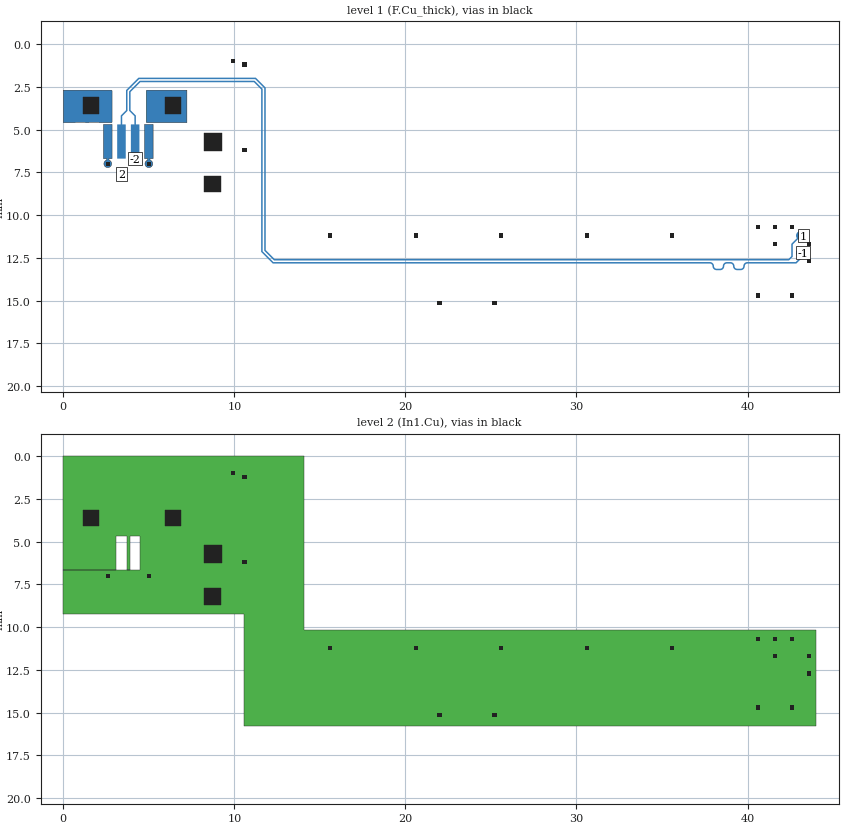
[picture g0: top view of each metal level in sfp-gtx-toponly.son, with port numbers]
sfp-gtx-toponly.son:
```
FTYP SONPROJ 19 ! Sonnet Project File
VER 18.52
HEADER
LIC antikernel2.1.51176
DAT 03/03/2022 13:22:02
BUILT_BY_CREATED xgeom 18.52 02/09/2022 03:42:16
BUILT_BY_SAVED sonnet 18.52
MDATE 03/03/2022 13:22:02
HDATE 03/03/2022 13:22:02
ANN Created by dxfgeo, Sonnet Software Inc.
END HEADER
DIM
ANG DEG
CAP PF
CON /OH
FREQ GHZ
IND NH
LNG MM
RES OH
END DIM
CONTROL
VARSWP
OPTIONS  -d
SPEED 1
CACHE_ABS 2
Q_ACC N
END CONTROL
GEO
TMET "Free Space" 0 FREESPACE 376.7303136 0 0 0
BMET "Free Space" 0 FREESPACE 376.7303136 0 0 0
MET "Copper_1oz_thin" 1 NOR 58000000 0.5 0.035 
MET "Copper_1oz_thick" 2 TMM 58000000 0.5 0.035 2
MET "Copper_0.5oz_thin" 4 NOR 58000000 0.5 0.017 
MET "Copper_0.5oz_thick" 12 TMM 58000000 0.5 0.017 2
MET "Copper_0.5oz_thick_down" 5 TMM 58000000 0.5 0.017 2 CDVY TDWN
MET "Copper_1oz_thick_down" 3 TMM 58000000 0.5 0.035 2 CDVY TDWN
BOX 10 44 19 3520 1520 20 0
      5 1 1 0 0 0 0 "Air"
      0.04 3.5 1 0.025 0 0 0 "Soldermask"
      0.075 3.9 1 0.008 0 0 0 "TU-872_SLK"
      0.1 3.9 1 0.008 0 0 0 "TU-872_SLK"
      0.143 3.9 1 0.008 0 0 0 "TU-872_SLK"
      0.7 4.49 1 0.016 0 0 0 "Shengyi_S1000-2M"
      0.143 3.9 1 0.008 0 0 0 "TU-872_SLK"
      0.1 3.9 1 0.008 0 0 0 "TU-872_SLK"
      0.075 3.9 1 0.008 0 0 0 "TU-872_SLK"
      0.04 3.5 1 0.025 0 0 0 "Soldermask"
      5 1 1 0 0 0 0 "Air"
TECHLAY METAL F.Cu_thick <UNSPECIFIED> -2 0 CAD F.Cu_thick drawing 
1 0 1 N 24123 1 1 100 100 0 0 0 Y
END
END
TECHLAY VIA Via1 <UNSPECIFIED> -13 0 CAD Via1 drawing 
VIA POLYGON
1 0 -1 N 24202 1 1 100 100 0 0 0 Y
TOLEVEL 8 RING NOCOVERS
END
END
TECHLAY METAL F.Cu_thin <UNSPECIFIED> -1 0 CAD F.Cu_thin drawing 
1 0 0 N 24143 1 1 100 100 0 0 0 Y
END
END
TECHLAY METAL In1.Cu <UNSPECIFIED> -3 0 CAD In1.Cu drawing 
2 0 0 N 24146 1 1 100 100 0 0 0 Y
END
END
TECHLAY METAL In2.Cu_thick <UNSPECIFIED> -5 0 CAD In2.Cu_thick drawing 
3 0 3 N 24149 1 1 100 100 0 0 0 Y
END
END
TECHLAY METAL In2.Cu_thin <UNSPECIFIED> -4 0 CAD In2.Cu drawing 
3 0 2 N 24151 1 1 100 100 0 0 0 Y
END
END
TECHLAY METAL In3.Cu <UNSPECIFIED> -6 0 CAD In3.Cu drawing 
4 0 0 N 24154 1 1 100 100 0 0 0 Y
END
END
TECHLAY METAL In4.Cu <UNSPECIFIED> -7 0 CAD In4.Cu drawing 
5 0 0 N 24159 1 1 100 100 0 0 0 Y
END
END
TECHLAY METAL In5.Cu_thin <UNSPECIFIED> -8 0 CAD In5.Cu drawing 
6 0 2 N 24164 1 1 100 100 0 0 0 Y
END
END
TECHLAY METAL In5.Cu_thick <UNSPECIFIED> -9 0 CAD In5.Cu_thick drawing 
6 0 4 N 24162 1 1 100 100 0 0 0 Y
END
END
TECHLAY METAL In6.Cu <UNSPECIFIED> -10 0 CAD In6.Cu drawing 
7 0 0 N 24167 1 1 100 100 0 0 0 Y
END
END
TECHLAY METAL B.Cu_thin <UNSPECIFIED> -11 0 CAD B.Cu_thin drawing 
8 0 0 N 24172 1 1 100 100 0 0 0 Y
END
END
TECHLAY METAL B.Cu_thick <UNSPECIFIED> -12 0 CAD B.Cu_thick drawing 
8 0 5 N 24170 1 1 100 100 0 0 0 Y
END
END
VALVAR CORE_ER NONE "table1(\"core_er.csv\",FREQ)" "Variable set in material file"
VALVAR CORE_DF NONE "table1(\"core_df.csv\",FREQ)" "Variable set in material file"
VALVAR PREPREG_DF NONE "table1(\"prepreg_df.csv\",FREQ)" "Variable set in material file"
VALVAR PREPREG_ER NONE "table1(\"prepreg_er.csv\",FREQ)" "Variable set in material file"
LORGN 0 19 U 
POR1 CUP Auto
GNDREF AUTO
TERMW FEED
POLY 23878 1
61
-1 100 0 0 0 43.263 12.2 
CUPGRP "Auto" LOCAL
ID 24198
END
POR1 CUP Auto
GNDREF AUTO
TERMW FEED
POLY 23878 1
298
-2 100 0 0 0 4.2 6.7 
CUPGRP "Auto" LOCAL
ID 24199
END
POR1 CUP Auto
GNDREF AUTO
TERMW FEED
POLY 23879 1
26
1 100 0 0 0 43.263 11.2 
CUPGRP "Auto" LOCAL
ID 24200
END
POR1 CUP Auto
GNDREF AUTO
TERMW FEED
POLY 23879 1
110
2 100 0 0 0 3.4 6.7 
CUPGRP "Auto" LOCAL
ID 24201
END
NUM 31
1 67 1 N 1085 1 1 100 100 0 0 0 Y
TLAYNAM F.Cu_thick INH
USER_DAT FromImport
2.589 7.225
2.567 7.223
2.545 7.218
2.524 7.212
2.504 7.203
2.484 7.193
2.466 7.181
2.449 7.167
2.433 7.151
2.419 7.134
2.407 7.116
2.397 7.096
2.388 7.076
2.382 7.055
2.377 7.033
2.375 7.011
2.375 6.989
2.377 6.967
2.382 6.945
2.388 6.924
2.397 6.904
2.407 6.884
2.419 6.866
2.433 6.849
2.449 6.833
2.466 6.819
2.484 6.807
2.504 6.797
2.524 6.788
2.53 6.786
2.53 6.7
2.35 6.7
2.35 4.7
2.85 4.7
2.85 6.7
2.67 6.7
2.67 6.786
2.676 6.788
2.696 6.797
2.716 6.807
2.734 6.819
2.751 6.833
2.767 6.849
2.781 6.866
2.793 6.884
2.803 6.904
2.812 6.924
2.818 6.945
2.823 6.967
2.825 6.989
2.825 7.011
2.823 7.033
2.818 7.055
2.812 7.076
2.803 7.096
2.793 7.116
2.781 7.134
2.767 7.151
2.751 7.167
2.734 7.181
2.716 7.193
2.696 7.203
2.676 7.212
2.655 7.218
2.633 7.223
2.611 7.225
2.589 7.225
END
1 67 1 N 1086 1 1 100 100 0 0 0 Y
TLAYNAM F.Cu_thick INH
USER_DAT FromImport
4.989 7.225
4.967 7.223
4.945 7.218
4.924 7.212
4.904 7.203
4.884 7.193
4.866 7.181
4.849 7.167
4.833 7.151
4.819 7.134
4.807 7.116
4.797 7.096
4.788 7.076
4.782 7.055
4.777 7.033
4.775 7.011
4.775 6.989
4.777 6.967
4.782 6.945
4.788 6.924
4.797 6.904
4.807 6.884
4.819 6.866
4.833 6.849
4.849 6.833
4.866 6.819
4.884 6.807
4.904 6.797
4.924 6.788
4.93 6.786
4.93 6.7
4.75 6.7
4.75 4.7
5.25 4.7
5.25 6.7
5.07 6.7
5.07 6.786
5.076 6.788
5.096 6.797
5.116 6.807
5.134 6.819
5.151 6.833
5.167 6.849
5.181 6.866
5.193 6.884
5.203 6.904
5.212 6.924
5.218 6.945
5.223 6.967
5.225 6.989
5.225 7.011
5.223 7.033
5.218 7.055
5.212 7.076
5.203 7.096
5.193 7.116
5.181 7.134
5.167 7.151
5.151 7.167
5.134 7.181
5.116 7.193
5.096 7.203
5.076 7.212
5.055 7.218
5.033 7.223
5.011 7.225
4.989 7.225
END
1 451 1 V 23878 1 1 100 100 0 0 0 Y
TLAYNAM F.Cu_thick NOH
USER_DAT FromImport
39.611 13.224
39.642 13.22
39.652 13.22
39.657 13.219
39.702 13.203
39.71 13.199
39.713 13.196
39.717 13.193
39.74 13.179
39.741 13.179
39.744 13.177
39.748 13.174
39.751 13.171
39.755 13.168
39.757 13.165
39.777 13.145
39.781 13.142
39.79 13.133
39.815 13.092
39.819 13.084
39.82 13.08
39.821 13.075
39.829 13.052
39.831 13.049
39.832 13.045
39.834 13.04
39.835 13.036
39.835 13.032
39.845 12.948
39.845 12.945
39.852 12.926
39.853 12.925
39.874 12.89
39.895 12.869
39.919 12.853
39.921 12.852
39.959 12.839
39.989 12.835
42.844 12.835
42.848 12.834
42.852 12.832
42.856 12.831
42.86 12.829
42.868 12.823
42.873 12.817
43.127 12.563
43.13 12.561
43.133 12.558
43.133 12.557
43.136 12.554
43.139 12.55
43.141 12.547
43.142 12.542
43.144 12.538
43.145 12.534
43.145 12.461
43.164 12.457
43.189 12.45
43.213 12.44
43.236 12.427
43.258 12.413
43.263 12.40875
43.263 11.99125
43.258 11.987
43.236 11.973
43.213 11.96
43.189 11.95
43.164 11.943
43.139 11.938
43.113 11.935
43.087 11.935
43.061 11.938
43.036 11.943
43.011 11.95
42.987 11.96
42.964 11.973
42.942 11.987
42.922 12.004
42.904 12.022
42.887 12.042
42.873 12.064
42.86 12.087
42.85 12.111
42.843 12.136
42.838 12.161
42.835 12.187
42.835 12.213
42.838 12.239
42.843 12.264
42.85 12.289
42.86 12.313
42.873 12.336
42.887 12.358
42.904 12.378
42.922 12.396
42.942 12.413
42.964 12.427
42.987 12.44
43.011 12.45
43.036 12.457
43.055 12.461
43.055 12.509
42.818 12.745
39.983 12.745
39.98 12.746
39.979 12.746
39.943 12.75
39.939 12.75
39.935 12.751
39.931 12.753
39.927 12.754
39.926 12.755
39.9 12.764
39.895 12.765
39.891 12.766
39.883 12.77
39.842 12.795
39.833 12.804
39.83 12.808
39.81 12.828
39.807 12.83
39.804 12.834
39.801 12.837
39.798 12.841
39.796 12.844
39.796 12.845
39.782 12.868
39.779 12.872
39.776 12.875
39.772 12.883
39.756 12.928
39.755 12.933
39.755 12.943
39.746 13.016
39.733 13.054
39.732 13.056
39.716 13.08
39.695 13.101
39.66 13.122
39.659 13.123
39.64 13.13
39.638 13.13
39.592 13.135
39.389 13.135
39.359 13.131
39.321 13.118
39.319 13.117
39.295 13.101
39.274 13.08
39.253 13.045
39.252 13.044
39.245 13.025
39.245 13.022
39.235 12.938
39.235 12.934
39.234 12.93
39.232 12.925
39.231 12.921
39.229 12.918
39.221 12.895
39.22 12.89
39.219 12.886
39.215 12.878
39.19 12.837
39.181 12.828
39.177 12.825
39.16 12.809
39.157 12.805
39.155 12.802
39.151 12.799
39.148 12.796
39.144 12.793
39.141 12.791
39.14 12.791
39.117 12.777
39.113 12.774
39.11 12.771
39.102 12.767
39.057 12.751
39.052 12.75
39.042 12.75
39.011 12.746
39.007 12.745
38.783 12.745
38.78 12.746
38.779 12.746
38.743 12.75
38.739 12.75
38.735 12.751
38.731 12.753
38.727 12.754
38.726 12.755
38.7 12.764
38.695 12.765
38.691 12.766
38.683 12.77
38.642 12.795
38.633 12.804
38.63 12.808
38.61 12.828
38.607 12.83
38.604 12.834
38.601 12.837
38.598 12.841
38.596 12.844
38.596 12.845
38.582 12.868
38.579 12.872
38.576 12.875
38.572 12.883
38.556 12.928
38.555 12.933
38.555 12.943
38.546 13.016
38.533 13.054
38.532 13.056
38.516 13.08
38.495 13.101
38.46 13.122
38.459 13.123
38.44 13.13
38.438 13.13
38.392 13.135
38.189 13.135
38.159 13.131
38.121 13.118
38.119 13.117
38.095 13.101
38.074 13.08
38.053 13.045
38.052 13.044
38.045 13.025
38.045 13.022
38.035 12.938
38.035 12.934
38.034 12.93
38.032 12.925
38.031 12.921
38.029 12.918
38.021 12.895
38.02 12.89
38.019 12.886
38.015 12.878
37.99 12.837
37.981 12.828
37.977 12.825
37.96 12.809
37.957 12.805
37.955 12.802
37.951 12.799
37.948 12.796
37.944 12.793
37.941 12.791
37.94 12.791
37.917 12.777
37.913 12.774
37.91 12.771
37.902 12.767
37.857 12.751
37.852 12.75
37.842 12.75
37.811 12.746
37.807 12.745
12.281 12.745
11.655 12.118
11.655 2.63
11.653 2.622
11.649 2.614
11.646 2.61
11.644 2.607
11.193 2.157
11.19 2.154
11.186 2.151
11.182 2.149
11.178 2.148
11.174 2.146
11.17 2.145
4.48 2.145
4.472 2.147
4.464 2.151
4.46 2.154
4.457 2.156
3.857 2.757
3.854 2.76
3.851 2.764
3.849 2.768
3.848 2.772
3.846 2.776
3.845 2.78
3.845 3.897
3.846 3.901
3.848 3.905
3.849 3.909
3.851 3.913
3.854 3.917
4.155 4.218
4.155 4.7
3.95 4.7
3.95 6.7
4.45 6.7
4.45 4.7
4.245 4.7
4.245 4.193
4.244 4.189
4.242 4.185
4.241 4.181
4.239 4.177
4.236 4.173
3.935 3.872
3.935 2.805
4.506 2.235
11.145 2.235
11.565 2.656
11.565 12.144
11.566 12.148
11.568 12.152
11.569 12.156
11.571 12.16
11.577 12.168
11.583 12.173
12.227 12.817
12.229 12.82
12.232 12.823
12.233 12.823
12.236 12.826
12.24 12.829
12.243 12.831
12.248 12.832
12.252 12.834
12.256 12.835
37.792 12.835
37.838 12.84
37.84 12.84
37.859 12.847
37.86 12.848
37.895 12.869
37.916 12.89
37.932 12.914
37.933 12.916
37.946 12.954
37.955 13.027
37.955 13.037
37.956 13.042
37.972 13.087
37.976 13.095
37.979 13.098
37.982 13.102
37.996 13.125
37.996 13.126
37.998 13.129
38.001 13.133
38.004 13.136
38.007 13.14
38.01 13.142
38.03 13.162
38.033 13.166
38.042 13.175
38.083 13.2
38.091 13.204
38.095 13.205
38.1 13.206
38.126 13.215
38.127 13.216
38.131 13.217
38.135 13.219
38.139 13.22
38.143 13.22
38.179 13.224
38.18 13.224
38.183 13.225
38.407 13.225
38.411 13.224
38.442 13.22
38.452 13.22
38.457 13.219
38.502 13.203
38.51 13.199
38.513 13.196
38.517 13.193
38.54 13.179
38.541 13.179
38.544 13.177
38.548 13.174
38.551 13.171
38.555 13.168
38.557 13.165
38.577 13.145
38.581 13.142
38.59 13.133
38.615 13.092
38.619 13.084
38.62 13.08
38.621 13.075
38.629 13.052
38.631 13.049
38.632 13.045
38.634 13.04
38.635 13.036
38.635 13.032
38.645 12.948
38.645 12.945
38.652 12.926
38.653 12.925
38.674 12.89
38.695 12.869
38.719 12.853
38.721 12.852
38.759 12.839
38.789 12.835
38.992 12.835
39.038 12.84
39.04 12.84
39.059 12.847
39.06 12.848
39.095 12.869
39.116 12.89
39.132 12.914
39.133 12.916
39.146 12.954
39.155 13.027
39.155 13.037
39.156 13.042
39.172 13.087
39.176 13.095
39.179 13.098
39.182 13.102
39.196 13.125
39.196 13.126
39.198 13.129
39.201 13.133
39.204 13.136
39.207 13.14
39.21 13.142
39.23 13.162
39.233 13.166
39.242 13.175
39.283 13.2
39.291 13.204
39.295 13.205
39.3 13.206
39.326 13.215
39.327 13.216
39.331 13.217
39.335 13.219
39.339 13.22
39.343 13.22
39.379 13.224
39.38 13.224
39.383 13.225
39.607 13.225
39.611 13.224
END
1 139 1 V 23879 1 1 100 100 0 0 0 Y
TLAYNAM F.Cu_thick NOH
USER_DAT FromImport
42.421 12.654
42.425 12.652
42.429 12.651
42.433 12.649
42.437 12.646
42.636 12.447
42.639 12.443
42.641 12.439
42.642 12.435
42.644 12.431
42.645 12.427
42.645 11.718
42.947 11.416
42.964 11.427
42.987 11.44
43.011 11.45
43.036 11.457
43.061 11.462
43.087 11.465
43.113 11.465
43.139 11.462
43.164 11.457
43.189 11.45
43.213 11.44
43.236 11.427
43.258 11.413
43.263 11.40875
43.263 10.99125
43.258 10.987
43.236 10.973
43.213 10.96
43.189 10.95
43.164 10.943
43.139 10.938
43.113 10.935
43.087 10.935
43.061 10.938
43.036 10.943
43.011 10.95
42.987 10.96
42.964 10.973
42.942 10.987
42.922 11.004
42.904 11.022
42.887 11.042
42.873 11.064
42.86 11.087
42.85 11.111
42.843 11.136
42.838 11.161
42.835 11.187
42.835 11.213
42.838 11.239
42.843 11.264
42.85 11.289
42.86 11.313
42.873 11.336
42.884 11.353
42.564 11.673
42.561 11.677
42.559 11.681
42.558 11.685
42.556 11.689
42.555 11.693
42.555 12.402
42.392 12.565
12.355 12.565
11.835 12.044
11.835 2.556
11.834 2.552
11.832 2.548
11.831 2.544
11.829 2.54
11.823 2.532
11.817 2.527
11.275 1.985
11.274 1.983
11.268 1.977
11.264 1.974
11.261 1.971
11.257 1.969
11.253 1.968
11.249 1.966
11.244 1.965
4.406 1.965
4.402 1.966
4.398 1.968
4.394 1.969
4.39 1.971
4.382 1.977
4.377 1.983
3.683 2.677
3.68 2.679
3.677 2.682
3.677 2.683
3.674 2.686
3.671 2.69
3.669 2.693
3.668 2.698
3.666 2.702
3.665 2.706
3.665 3.872
3.364 4.173
3.361 4.177
3.359 4.181
3.358 4.185
3.356 4.189
3.355 4.193
3.355 4.7
3.15 4.7
3.15 6.7
3.65 6.7
3.65 4.7
3.445 4.7
3.445 4.218
3.746 3.917
3.749 3.913
3.751 3.909
3.752 3.905
3.754 3.901
3.755 3.897
3.755 2.731
4.432 2.055
11.219 2.055
11.745 2.582
11.745 12.07
11.747 12.078
11.751 12.086
11.754 12.09
11.756 12.093
12.307 12.643
12.31 12.646
12.314 12.649
12.318 12.651
12.322 12.652
12.326 12.654
12.33 12.655
42.417 12.655
42.421 12.654
END
1 27 1 N 23994 1 1 100 100 0 0 0 Y
TLAYNAM F.Cu_thick INH
USER_DAT FromImport
7.225 2.7
4.893 2.7
4.888 2.701
4.883 2.703
4.879 2.705
4.874 2.707
4.866 2.713
4.863 2.716
4.857 2.724
4.855 2.729
4.853 2.733
4.851 2.738
4.85 2.743
4.85 4.557
4.851 4.562
4.853 4.567
4.855 4.571
4.857 4.576
4.863 4.584
4.866 4.587
4.874 4.593
4.879 4.595
4.883 4.597
4.888 4.599
4.893 4.6
7.225 4.6
7.225 2.7
END
1 59 1 N 24208 1 1 100 100 0 0 0 Y
TLAYNAM F.Cu_thick INH
USER_DAT FromImport
2.812 4.599
2.817 4.597
2.821 4.595
2.826 4.593
2.834 4.587
2.837 4.584
2.843 4.576
2.845 4.571
2.847 4.567
2.849 4.562
2.85 4.557
2.85 2.743
2.849 2.738
2.847 2.733
2.845 2.729
2.843 2.724
2.837 2.716
2.834 2.713
2.826 2.707
2.821 2.705
2.817 2.703
2.812 2.701
2.807 2.7
0 2.7
0 4.6
0.667 4.6
0.677 4.598
0.681 4.596
0.702 4.585
0.729 4.576
0.757 4.574
1.242 4.574
1.274 4.577
1.305 4.587
1.309 4.589
1.31 4.59
1.314 4.593
1.319 4.595
1.323 4.597
1.328 4.599
1.333 4.6
1.467 4.6
1.477 4.598
1.481 4.596
1.502 4.585
1.529 4.576
1.557 4.574
2.042 4.574
2.074 4.577
2.105 4.587
2.108 4.588
2.112 4.591
2.115 4.593
2.119 4.595
2.124 4.597
2.128 4.599
2.133 4.6
2.807 4.6
2.812 4.599
END
VIA POLYGON
1 5 -1 N 21101 1 1 100 100 0 0 0 Y
TOLEVEL 8 RING NOCOVERS
TLAYNAM Via1 INH
USER_DAT FromImport
20.475 11.325
20.475 11.075
20.725 11.075
20.725 11.325
20.475 11.325
END
VIA POLYGON
1 5 -1 N 21102 1 1 100 100 0 0 0 Y
TOLEVEL 8 RING NOCOVERS
TLAYNAM Via1 INH
USER_DAT FromImport
25.475 11.325
25.475 11.075
25.725 11.075
25.725 11.325
25.475 11.325
END
VIA POLYGON
1 5 -1 N 21103 1 1 100 100 0 0 0 Y
TOLEVEL 8 RING NOCOVERS
TLAYNAM Via1 INH
USER_DAT FromImport
30.475 11.325
30.475 11.075
30.725 11.075
30.725 11.325
30.475 11.325
END
VIA POLYGON
1 5 -1 N 21104 1 1 100 100 0 0 0 Y
TOLEVEL 8 RING NOCOVERS
TLAYNAM Via1 INH
USER_DAT FromImport
35.475 11.325
35.475 11.075
35.725 11.075
35.725 11.325
35.475 11.325
END
VIA POLYGON
1 5 -1 N 21200 1 1 100 100 0 0 0 Y
TOLEVEL 8 RING NOCOVERS
TLAYNAM Via1 INH
USER_DAT FromImport
42.475 10.825
42.475 10.575
42.725 10.575
42.725 10.825
42.475 10.825
END
VIA POLYGON
1 5 -1 N 21204 1 1 100 100 0 0 0 Y
TOLEVEL 8 RING NOCOVERS
TLAYNAM Via1 INH
USER_DAT FromImport
43.475 12.825
43.475 12.575
43.725 12.575
43.725 12.825
43.475 12.825
END
VIA POLYGON
1 5 -1 N 21205 1 1 100 100 0 0 0 Y
TOLEVEL 8 RING NOCOVERS
TLAYNAM Via1 INH
USER_DAT FromImport
40.475 10.825
40.475 10.575
40.725 10.575
40.725 10.825
40.475 10.825
END
VIA POLYGON
1 5 -1 N 21210 1 1 100 100 0 0 0 Y
TOLEVEL 8 RING NOCOVERS
TLAYNAM Via1 INH
USER_DAT FromImport
41.475 10.825
41.475 10.575
41.725 10.575
41.725 10.825
41.475 10.825
END
VIA POLYGON
1 5 -1 N 21225 1 1 100 100 0 0 0 Y
TOLEVEL 8 RING NOCOVERS
TLAYNAM Via1 INH
USER_DAT FromImport
41.475 11.825
41.475 11.575
41.725 11.575
41.725 11.825
41.475 11.825
END
VIA POLYGON
1 5 -1 N 21233 1 1 100 100 0 0 0 Y
TOLEVEL 8 RING NOCOVERS
TLAYNAM Via1 INH
USER_DAT FromImport
43.475 11.825
43.475 11.575
43.725 11.575
43.725 11.825
43.475 11.825
END
VIA POLYGON
1 5 -1 N 21399 1 1 100 100 0 0 0 Y
TOLEVEL 8 RING NOCOVERS
TLAYNAM Via1 INH
USER_DAT FromImport
5.925 4.075
5.925 3.125
6.875 3.125
6.875 4.075
5.925 4.075
END
VIA POLYGON
1 5 -1 N 21404 1 1 100 100 0 0 0 Y
TOLEVEL 8 RING NOCOVERS
TLAYNAM Via1 INH
USER_DAT FromImport
8.25 8.675
8.25 7.725
9.2 7.725
9.2 8.675
8.25 8.675
END
VIA POLYGON
1 5 -1 N 21407 1 1 100 100 0 0 0 Y
TOLEVEL 8 RING NOCOVERS
TLAYNAM Via1 INH
USER_DAT FromImport
10.475 6.325
10.475 6.075
10.725 6.075
10.725 6.325
10.475 6.325
END
VIA POLYGON
1 5 -1 N 21411 1 1 100 100 0 0 0 Y
TOLEVEL 8 RING NOCOVERS
TLAYNAM Via1 INH
USER_DAT FromImport
8.2 6.225
8.2 5.175
9.25 5.175
9.25 6.225
8.2 6.225
END
VIA POLYGON
1 5 -1 N 21416 1 1 100 100 0 0 0 Y
TOLEVEL 8 RING NOCOVERS
TLAYNAM Via1 INH
USER_DAT FromImport
2.475 7.125
2.475 6.875
2.725 6.875
2.725 7.125
2.475 7.125
END
VIA POLYGON
1 5 -1 N 21418 1 1 100 100 0 0 0 Y
TOLEVEL 8 RING NOCOVERS
TLAYNAM Via1 INH
USER_DAT FromImport
4.875 7.125
4.875 6.875
5.125 6.875
5.125 7.125
4.875 7.125
END
VIA POLYGON
1 5 -1 N 21423 1 1 100 100 0 0 0 Y
TOLEVEL 8 RING NOCOVERS
TLAYNAM Via1 INH
USER_DAT FromImport
1.125 4.075
1.125 3.125
2.075 3.125
2.075 4.075
1.125 4.075
END
VIA POLYGON
1 5 -1 N 21424 1 1 100 100 0 0 0 Y
TOLEVEL 8 RING NOCOVERS
TLAYNAM Via1 INH
USER_DAT FromImport
15.475 11.325
15.475 11.075
15.725 11.075
15.725 11.325
15.475 11.325
END
VIA POLYGON
1 5 -1 N 21425 1 1 100 100 0 0 0 Y
TOLEVEL 8 RING NOCOVERS
TLAYNAM Via1 INH
USER_DAT FromImport
10.475 1.325
10.475 1.075
10.725 1.075
10.725 1.325
10.475 1.325
END
VIA POLYGON
1 5 -1 N 21426 1 1 100 100 0 0 0 Y
TOLEVEL 8 RING NOCOVERS
TLAYNAM Via1 INH
USER_DAT FromImport
9.775 1.125
9.775 0.875
10.025 0.875
10.025 1.125
9.775 1.125
END
VIA POLYGON
1 5 -1 N 21570 1 1 100 100 0 0 0 Y
TOLEVEL 8 RING NOCOVERS
TLAYNAM Via1 INH
USER_DAT FromImport
40.475 14.825
40.475 14.575
40.725 14.575
40.725 14.825
40.475 14.825
END
VIA POLYGON
1 5 -1 N 21572 1 1 100 100 0 0 0 Y
TOLEVEL 8 RING NOCOVERS
TLAYNAM Via1 INH
USER_DAT FromImport
42.475 14.825
42.475 14.575
42.725 14.575
42.725 14.825
42.475 14.825
END
VIA POLYGON
1 5 -1 N 21636 1 1 100 100 0 0 0 Y
TOLEVEL 8 RING NOCOVERS
TLAYNAM Via1 INH
USER_DAT FromImport
21.875 15.275
21.875 15.025
22.125 15.025
22.125 15.275
21.875 15.275
END
VIA POLYGON
1 5 -1 N 21637 1 1 100 100 0 0 0 Y
TOLEVEL 8 RING NOCOVERS
TLAYNAM Via1 INH
USER_DAT FromImport
25.075 15.275
25.075 15.025
25.325 15.025
25.325 15.275
25.075 15.275
END
2 25 0 N 24209 1 1 100 100 0 0 0 Y
TLAYNAM In1.Cu INH
44 13.668
44 11.238
44 10.175
14.1 10.175
14.1 0
0 0
0 6.675
3.1 6.675
3.1 4.65
3.7 4.65
3.7 6.675
3.9 6.675
3.9 4.65
4.5 4.65
4.5 6.675
3.9 6.675
3.7 6.675
3.7 6.675
3.1 6.675
0 6.675
0 9.2
10.55 9.2
10.55 15.75
44 15.75
44 13.668
END
END GEO
OPT
MAX 100
END OPT
VARSWP
ENABLED Y
FREQ Y AY ABS_ENTRY 0.001 16.0 -1 300 
END
END VARSWP
```
